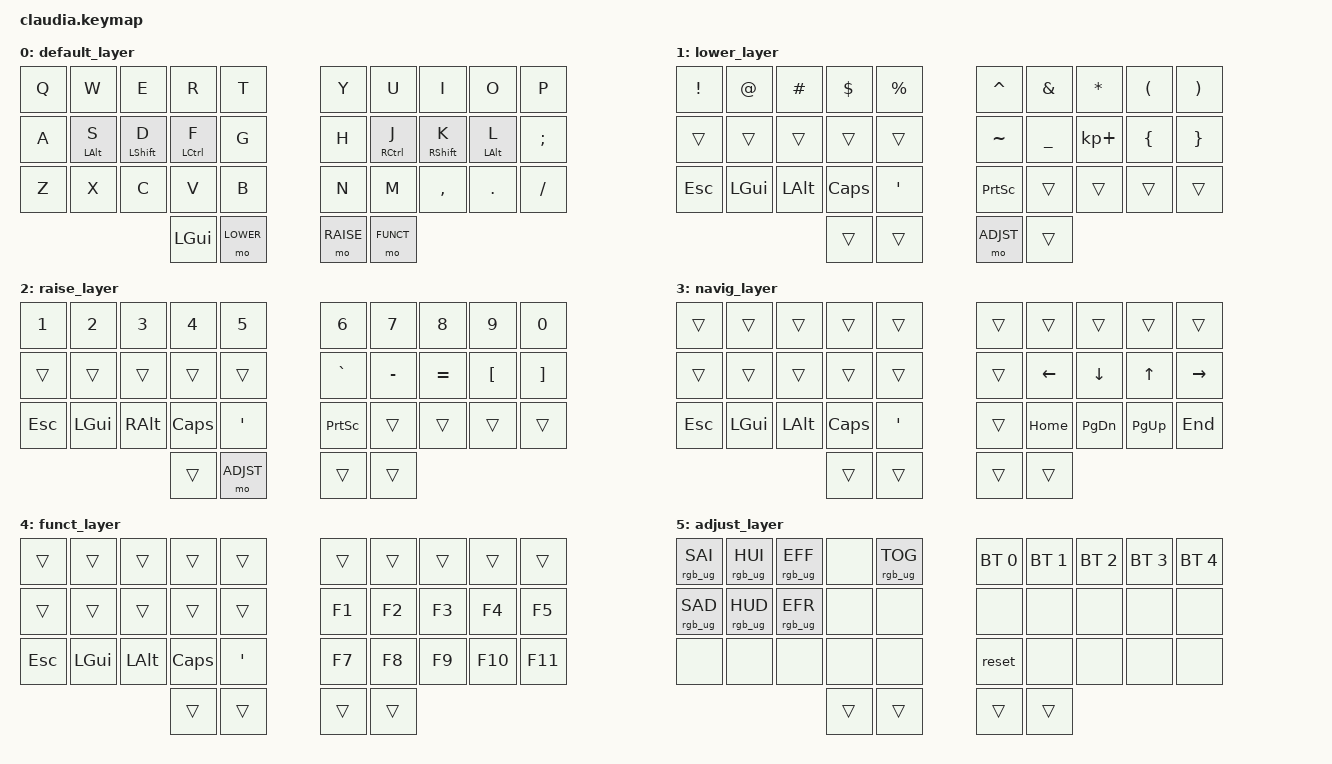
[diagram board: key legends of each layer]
/*
 * Copyright (c) 2020 The ZMK Contributors
 *
 * SPDX-License-Identifier: MIT
 */

#include <behaviors.dtsi>
#include <dt-bindings/zmk/keys.h>
#include <dt-bindings/zmk/bt.h>

#define DEFAULT 0
#define LOWER   1
#define RAISE   2
#define NAVIG   3
#define FUNCT   4
#define ADJST   5

/ {
     keymap {
                compatible = "zmk,keymap";

                default_layer {
// -------------------------------------------------------------------------------------
// |  Q  |  W   |  E   |  R   |  T  |   |  Y  |  U   |  I   |  O   |  P  |
// |  A  |ALT(S)|SFT(D)|CTL(F)|  G  |   |  H  |CTL(J)|SFT(K)|ALT(L)|  ;  |
// |  Z  |  X   |  C   |  V   |  B  |   |  N  |  M   |  ,   |  .   |  /  |
//                         | FUNC | LWR  RSE | FUNC |
                        bindings = <
   &kp Q &kp W      &kp E       &kp R       &kp T         &kp Y &kp U        &kp I       &kp O      &kp P    
   &kp A &hm LALT S &hm LSHFT D &hm LCTRL F &kp G         &kp H &hm RCTRL J  &hm RSHFT K &hm LALT L &kp SEMI
   &kp Z &kp X      &kp C       &kp V       &kp B         &kp N &kp M        &kp COMMA   &kp DOT    &kp FSLH
                                      &kp LGUI &mo LOWER &mo RAISE &mo FUNCT
                        >;
                };

                lower_layer {
// ----------------------------------------------------------------------------------
// |  !  |  @  |  #  |  $  |  %  |   |  ^  |  &  |  *  |  (  |  )  |
// |  _  |  +  |  {  |  }  | "|" |   |  ~  | LFT | DWN |  UP | RGT |
// | ESC | GUI | ALT | CAPS|  "  |   | PRSC| HOME| PGDN| PGUP| END |
//                       |     |     | ADJ |     |
                        bindings = <
   &kp EXCL &kp AT   &kp HASH &kp DLLR &kp PRCNT      &kp CARET &kp AMPS  &kp ASTRK   &kp LPAR  &kp RPAR
   &trans   &trans   &trans   &trans   &trans         &kp TILDE &kp UNDER &kp KP_PLUS &kp LBRC  &kp RBRC
   &kp ESC  &kp LGUI &kp LALT &kp CLCK &kp SQT        &kp PSCRN &trans    &trans      &trans    &trans
                                  &trans      &trans        &mo ADJST       &trans
                        >;
                };

                raise_layer {
// ----------------------------------------------------------------------------------
// |  1  |  2  |  3  |  4  |  5  |   |  6  |  7  |  8  |  9  |  0  |
// |  -  |  =  |  [  |  ]  |  \  |   |  `  | LFT | DWN |  UP | RGT |
// | ESC | GUI | ALT | CAPS|  "  |   | PRSC| HOME| PGDN| PGUP| END |
//                       |     | ADJ |    |     |
                        bindings = <
   &kp N1   &kp N2    &kp N3   &kp N4    &kp N5        &kp N6    &kp N7    &kp N8    &kp N9    &kp N0    
   &trans   &trans    &trans   &trans    &trans        &kp GRAVE &kp MINUS &kp EQUAL &kp LBKT  &kp RBKT  
   &kp ESC  &kp LGUI  &kp RALT &kp CLCK  &kp SQT       &kp PSCRN &trans    &trans    &trans    &trans    
                                 &trans      &mo ADJST        &trans      &trans
                        >;
                };

                navig_layer {
// ----------------------------------------------------------------------------------
// |  !  |  @  |  #  |  $  |  %  |   |  ^  |  &  |  *  |  (  |  )  |
// |  _  |  +  |  {  |  }  | "|" |   | F1  | F2  | F3  | F4  | F5  |
// | ESC | GUI | ALT | CAPS|  "  |   | F7  | F8  | F9  | F10 | F11 |
//                       |     |     | RET |     |
                        bindings = <
   &trans  &trans   &trans   &trans   &trans      &trans  &trans   &trans    &trans    &trans    
   &trans  &trans   &trans   &trans   &trans      &trans  &kp LEFT &kp DOWN  &kp UP    &kp RIGHT 
   &kp ESC &kp LGUI &kp LALT &kp CLCK &kp SQT     &trans  &kp HOME &kp PG_DN &kp PG_UP &kp END   
                                  &trans   &trans   &trans   &trans
                        >;
                };

                funct_layer {
// ----------------------------------------------------------------------------------
// |  !  |  @  |  #  |  $  |  %  |   |  ^  |  &  |  *  |  (  |  )  |
// |  _  |  +  |  {  |  }  | "|" |   | F1  | F2  | F3  | F4  | F5  |
// | ESC | GUI | ALT | CAPS|  "  |   | F7  | F8  | F9  | F10 | F11 |
//                       |     |     | ADJ |     |
                        bindings = <
   &trans  &trans   &trans   &trans   &trans      &trans    &trans    &trans    &trans    &trans    
   &trans  &trans   &trans   &trans   &trans      &kp F1    &kp F2    &kp F3    &kp F4    &kp F5    
   &kp ESC &kp LGUI &kp LALT &kp CLCK &kp SQT     &kp F7    &kp F8    &kp F9    &kp F10   &kp F11   
                                  &trans   &trans   &trans   &trans
                        >;
                };

                adjust_layer {
// -----------------------------------------------------------------------------------------
// | RGB SAT+ | RGB HUE+ | RGB ANI+ |    | RGB TOG |   |  BT1  | BT2 | BT3 | BT4 | BT5 |
// | RGB SAT- | RGB HUE- | RGB ANI+ |    |         |   |       |     |     |     |     |
// |          |          |          |    |         |   | RESET |     |     |     |     |
//                                              |     |     |     |     |     |
                        bindings = <
   &rgb_ug RGB_SAI &rgb_ug RGB_HUI &rgb_ug RGB_EFF &none &rgb_ug RGB_TOG    &bt BT_SEL 0 &bt BT_SEL 1 &bt BT_SEL 2 &bt BT_SEL 3 &bt BT_SEL 4 
   &rgb_ug RGB_SAD &rgb_ug RGB_HUD &rgb_ug RGB_EFR &none &none              &none        &none        &none        &none        &none        
   &none           &none           &none           &none &none              &reset       &none        &none        &none        &none        
                                                             &trans      &trans         &trans      &trans
                        >;
                };
        };
};
